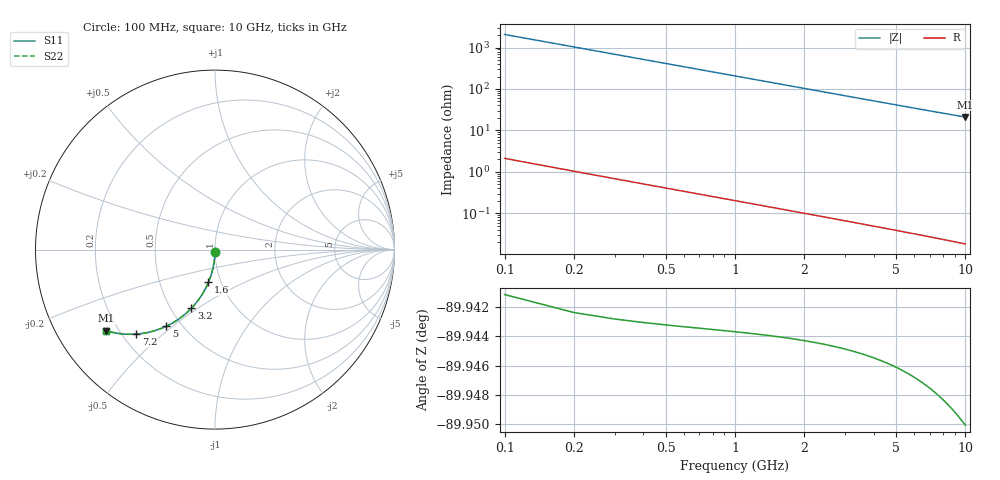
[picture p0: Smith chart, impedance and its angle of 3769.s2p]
# Hz S RI R 50.00
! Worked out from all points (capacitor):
!   100 points, 100 MHz to 10 GHz, reference 50 ohm
!   read as one part in shunt: C = 771 fF near 100 MHz
!   lowest |Z| = 21 ohm at 10 GHz (marker M1)
!   S11 on the Smith chart (normalised r, x): 100 MHz: 1.00, -0.02; 1.6 GHz: 0.87, -0.33; 3.2 GHz: 0.63, -0.47; 5 GHz: 0.41, -0.47; 7.2 GHz: 0.26, -0.41; 10 GHz: 0.15, -0.33
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1e8  -6.74e-05 -0.0118  0.9997 -0.0124  0.9997 -0.0124  -6.74e-05 -0.0118
2e8  -0.000518 -0.0235  0.9993 -0.0249  0.9993 -0.0249  -0.000518 -0.0235
3e8  -0.00126 -0.0352  0.9986 -0.0373  0.9986 -0.0373  -0.00126 -0.0352
4e8  -0.00229 -0.0469  0.9975 -0.0497  0.9975 -0.0497  -0.00229 -0.0469
5e8  -0.00361 -0.0586  0.9962 -0.062  0.9962 -0.062  -0.00361 -0.0586
6e8  -0.00522 -0.0702  0.9946 -0.0743  0.9946 -0.0743  -0.00522 -0.0702
7e8  -0.00712 -0.0817  0.9927 -0.0865  0.9927 -0.0865  -0.00712 -0.0817
9e8  -0.0117 -0.1046  0.9881 -0.1108  0.9881 -0.1108  -0.0117 -0.1046
1.2e9  -0.0207 -0.1382  0.9791 -0.1464  0.9791 -0.1464  -0.0207 -0.1382
1.6e9  -0.0363 -0.1814  0.9635 -0.1923  0.9635 -0.1923  -0.0363 -0.1814
1.8e9  -0.0455 -0.2021  0.9542 -0.2144  0.9542 -0.2144  -0.0455 -0.2021
2.4e9  -0.0783 -0.2601  0.9214 -0.2766  0.9214 -0.2766  -0.0783 -0.2601
3.2e9  -0.1315 -0.3266  0.8681 -0.3487  0.8681 -0.3487  -0.1315 -0.3266
3.4e9  -0.1461 -0.3412  0.8535 -0.3646  0.8535 -0.3646  -0.1461 -0.3412
4.2e9  -0.2075 -0.3907  0.7919 -0.4198  0.7919 -0.4198  -0.2075 -0.3907
5e9  -0.2714 -0.427  0.7278 -0.4617  0.7278 -0.4617  -0.2714 -0.427
5.1e9  -0.2794 -0.4307  0.7198 -0.4661  0.7198 -0.4661  -0.2794 -0.4307
5.9e9  -0.3425 -0.4537  0.6565 -0.4948  0.6565 -0.4948  -0.3425 -0.4537
6.7e9  -0.4028 -0.4667  0.5959 -0.5135  0.5959 -0.5135  -0.4028 -0.4667
7.2e9  -0.4385 -0.4706  0.56 -0.521  0.56 -0.521  -0.4385 -0.4706
8.4e9  -0.517 -0.4695  0.481 -0.5288  0.481 -0.5288  -0.517 -0.4695
1e10  -0.605 -0.4525  0.3923 -0.5236  0.3923 -0.5236  -0.605 -0.4525
